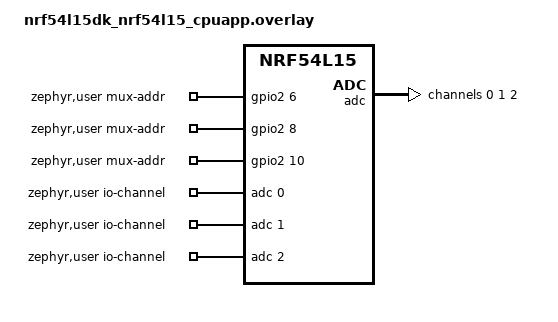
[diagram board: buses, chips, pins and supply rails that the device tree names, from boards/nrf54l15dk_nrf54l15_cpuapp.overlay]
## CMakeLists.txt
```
cmake_minimum_required(VERSION 3.20.0)
find_package(Zephyr REQUIRED HINTS $ENV{ZEPHYR_BASE})
project(restride_heatmap)

target_sources(app PRIVATE src/main.c)
target_include_directories(app PRIVATE src)
```

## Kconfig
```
mainmenu "ReStride insole heatmap"

config RESTRIDE_FRAME_PERIOD_MS
	int "Frame period (ms)"
	default 20
	range 5 1000
	help
	  20 = 50 Hz. At 115200 baud a frame is ~110 bytes, so ~100 Hz is the limit; use
	  1 Mbaud (set current-speed of uart20 in the overlay) for more.

config RESTRIDE_MUX_SETTLE_US
	int "Delay after changing the mux address before sampling (us)"
	default 50
	range 0 5000

config RESTRIDE_OVERSAMPLING
	int "SAADC oversampling exponent (0 = off, 2 = 4x)"
	default 2
	range 0 8

config RESTRIDE_FW_VERSION
	string "Firmware version string reported in the I line"
	default "0.1.0"

config RESTRIDE_RREF_OHMS
	int "Bus pull-down value reported to the host (ohms)"
	default 10000

config RESTRIDE_MUX_SELFTEST
	bool "Mux self-test: hold each address 2 s and print k (no ADC scan)"
	help
	  Check with a meter that exactly one SELk line is high at a time.

source "Kconfig.zephyr"
```

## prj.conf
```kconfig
CONFIG_ADC=y
CONFIG_GPIO=y
CONFIG_SERIAL=y
CONFIG_CONSOLE=y
CONFIG_UART_CONSOLE=y
CONFIG_LOG=n
# Keep the console UART free of anything but our frames.
CONFIG_BOOT_BANNER=n
# Trace/ETM must stay off: A0..A2 use P2.06 / P2.08 / P2.10 (trace pins).
```

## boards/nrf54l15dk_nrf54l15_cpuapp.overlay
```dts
/*
 * ReStride insole: 2 buses on AIN4 (P1.11) / AIN5 (P1.12) + VDD channel, 3-bit mux address.
 * VERIFY against the installed SDK: zephyr/include/zephyr/dt-bindings/adc/nrf-saadc*.h
 * (macro names NRF_SAADC_AIN4 / AIN5 / NRF_SAADC_VDD) and the SAADC chapter (gain / reference).
 */
#include <zephyr/dt-bindings/adc/adc.h>
#include <zephyr/dt-bindings/adc/nrf-saadc.h>

/ {
	zephyr,user {
		io-channels = <&adc 0>, <&adc 1>, <&adc 2>;
		mux-addr-gpios = <&gpio2 6 GPIO_ACTIVE_HIGH>,   /* A0 */
				 <&gpio2 8 GPIO_ACTIVE_HIGH>,   /* A1 */
				 <&gpio2 10 GPIO_ACTIVE_HIGH>;  /* A2 */
	};
};

&adc {
	#address-cells = <1>;
	#size-cells = <0>;
	status = "okay";

	channel@0 { /* BUS_A, AIN4 = P1.11 */
		reg = <0>;
		zephyr,gain = "ADC_GAIN_1_4";   /* 0.9 V ref x 4 = 3.6 V full scale (>= 3.3 V VDD) */
		zephyr,reference = "ADC_REF_INTERNAL";
		zephyr,acquisition-time = <ADC_ACQ_TIME(ADC_ACQ_TIME_MICROSECONDS, 10)>;
		zephyr,input-positive = <NRF_SAADC_AIN4>;
		zephyr,resolution = <12>;
	};
	channel@1 { /* BUS_B, AIN5 = P1.12 */
		reg = <1>;
		zephyr,gain = "ADC_GAIN_1_4";
		zephyr,reference = "ADC_REF_INTERNAL";
		zephyr,acquisition-time = <ADC_ACQ_TIME(ADC_ACQ_TIME_MICROSECONDS, 10)>;
		zephyr,input-positive = <NRF_SAADC_AIN5>;
		zephyr,resolution = <12>;
	};
	channel@2 { /* VDD, for ratiometric correction */
		reg = <2>;
		zephyr,gain = "ADC_GAIN_1_4";
		zephyr,reference = "ADC_REF_INTERNAL";
		zephyr,acquisition-time = <ADC_ACQ_TIME_DEFAULT>;
		zephyr,input-positive = <NRF_SAADC_VDD>;
		zephyr,resolution = <12>;
	};
};
```

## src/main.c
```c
/*
 * ReStride 16-sensor insole scanner.
 * 3 address GPIOs -> NAND decoder -> 74HC4066 switches; two banks of 8 onto AIN4 / AIN5.
 * Streams ASCII frames on the console UART (DK VCOM):
 *   I,restride-heatmap,<fw>,channels=16,rref=<ohms>,map=2-3-...      (boot, repeated every 5 s)
 *   F,<seq>,<t_ms>,<vdd_mv>,<r0>,...,<r15>                           (every frame)
 */
#include <zephyr/kernel.h>
#include <zephyr/drivers/adc.h>
#include <zephyr/drivers/gpio.h>
#include <zephyr/sys/printk.h>

#include "channel_map.h"

#define ZU DT_PATH(zephyr_user)

static const struct adc_dt_spec adc_ch[3] = {
	ADC_DT_SPEC_GET_BY_IDX(ZU, 0), /* BUS_A */
	ADC_DT_SPEC_GET_BY_IDX(ZU, 1), /* BUS_B */
	ADC_DT_SPEC_GET_BY_IDX(ZU, 2), /* VDD */
};

static const struct gpio_dt_spec addr_pin[3] = {
	GPIO_DT_SPEC_GET_BY_IDX(ZU, mux_addr_gpios, 0), /* A0 */
	GPIO_DT_SPEC_GET_BY_IDX(ZU, mux_addr_gpios, 1), /* A1 */
	GPIO_DT_SPEC_GET_BY_IDX(ZU, mux_addr_gpios, 2), /* A2 */
};

/* 0.9 V reference / gain 1/4 = 3.6 V over 4096 counts. Must match host/frames.py. */
#define ADC_FULL_MV 3600
#define ADC_COUNTS 4096

static void mux_select(unsigned int k)
{
	for (int b = 0; b < 3; b++) {
		gpio_pin_set_dt(&addr_pin[b], (k >> b) & 1);
	}
}

static int mux_init(void)
{
	for (int b = 0; b < 3; b++) {
		if (!gpio_is_ready_dt(&addr_pin[b]) ||
		    gpio_pin_configure_dt(&addr_pin[b], GPIO_OUTPUT_INACTIVE) < 0) {
			return -ENODEV;
		}
	}
	return 0;
}

static int adc_init(void)
{
	for (int i = 0; i < 3; i++) {
		if (!adc_is_ready_dt(&adc_ch[i]) || adc_channel_setup_dt(&adc_ch[i]) < 0) {
			return -ENODEV;
		}
	}
	return 0;
}

static int16_t clamp0(int16_t v)
{
	return v < 0 ? 0 : v; /* single-ended noise near 0 V can read slightly negative */
}

/* Both buses in one sequence; samples come back in ascending channel-id order. */
static int read_buses(int16_t *a, int16_t *b)
{
	int16_t buf[2];
	bool a_first = adc_ch[0].channel_id < adc_ch[1].channel_id;
	struct adc_sequence seq = {
		.channels = BIT(adc_ch[0].channel_id) | BIT(adc_ch[1].channel_id),
		.buffer = buf,
		.buffer_size = sizeof(buf),
		.resolution = adc_ch[0].resolution,
		.oversampling = CONFIG_RESTRIDE_OVERSAMPLING,
	};
	int err = adc_read_dt(&adc_ch[0], &seq);

	if (err) {
		return err;
	}
	*a = clamp0(buf[a_first ? 0 : 1]);
	*b = clamp0(buf[a_first ? 1 : 0]);
	return 0;
}

static int read_vdd_mv(void)
{
	int16_t v = 0;
	struct adc_sequence seq = {
		.channels = BIT(adc_ch[2].channel_id),
		.buffer = &v,
		.buffer_size = sizeof(v),
		.resolution = adc_ch[2].resolution,
	};

	if (adc_read_dt(&adc_ch[2], &seq)) {
		return -1;
	}
	return (clamp0(v) * ADC_FULL_MV) / ADC_COUNTS;
}

static void print_info(void)
{
	printk("I,restride-heatmap,%s,channels=%d,rref=%d,map=", CONFIG_RESTRIDE_FW_VERSION, N_CH,
	       CONFIG_RESTRIDE_RREF_OHMS);
	for (int i = 0; i < N_CH; i++) {
		printk("%d%s", CH_TO_FPC[i], i < N_CH - 1 ? "-" : "");
	}
	printk("\n");
}

int main(void)
{
	if (mux_init() || adc_init()) {
		printk("E,init failed\n");
		return 0;
	}

#ifdef CONFIG_RESTRIDE_MUX_SELFTEST
	for (unsigned int k = 0;; k = (k + 1) % N_ROWS) {
		mux_select(k);
		printk("selftest k=%u (A2A1A0=%u%u%u): SEL%u should be the only high line\n", k,
		       (k >> 2) & 1, (k >> 1) & 1, k & 1, k);
		k_sleep(K_SECONDS(2));
	}
#else
	uint32_t seq = 0;
	int64_t next = k_uptime_get();
	int64_t next_info = next;

	print_info();
	while (1) {
		int16_t raw[N_CH];
		int vdd = read_vdd_mv();

		for (unsigned int k = 0; k < N_ROWS; k++) {
			mux_select(k);
			k_busy_wait(CONFIG_RESTRIDE_MUX_SETTLE_US);
			if (read_buses(&raw[k], &raw[k + N_ROWS])) {
				raw[k] = raw[k + N_ROWS] = 0;
			}
		}

		printk("F,%u,%u,%d", seq++, (uint32_t)k_uptime_get(), vdd);
		for (int i = 0; i < N_CH; i++) {
			printk(",%d", raw[i]);
		}
		printk("\n");

		if (k_uptime_get() >= next_info + 5000) {
			next_info = k_uptime_get();
			print_info(); /* repeated so a host can find the port after boot */
		}
		next += CONFIG_RESTRIDE_FRAME_PERIOD_MS;
		k_sleep(K_TIMEOUT_ABS_MS(next));
	}
#endif
	return 0;
}
```

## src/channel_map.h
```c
/* Channel index -> FPC pin. Single source of truth for the firmware; the host reads the same
 * mapping from the `map=` field of the I line (and host/layout.json). */
#ifndef CHANNEL_MAP_H_
#define CHANNEL_MAP_H_

#define N_CH 16
#define N_ROWS 8 /* 3-bit address -> 8 rows, 2 banks */

/* ch0..7 = bank A (BUS_A, AIN4), ch8..15 = bank B (BUS_B, AIN5); row k gives ch k and ch k+8 */
static const unsigned char CH_TO_FPC[N_CH] = {
	2, 3, 4, 5, 7, 8, 9, 10,
	12, 13, 15, 16, 17, 18, 19, 20,
};

#endif
```
